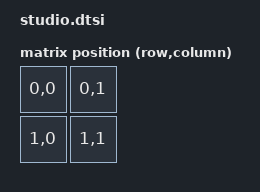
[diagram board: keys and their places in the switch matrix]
/*
 * Copyright (c) 2026 The zmk-editable-macros contributors
 *
 * SPDX-License-Identifier: MIT
 */

/*
 * ZMK Studio refuses to build for a keyboard without a physical layout, so the tests
 * that enable Studio give the 2x2 mock keyboard one.
 */

#include <physical_layouts.dtsi>
#include <dt-bindings/zmk/matrix_transform.h>

/ {
    chosen {
        zmk,physical-layout = &test_layout;
    };

    test_transform: test_transform {
        compatible = "zmk,matrix-transform";
        rows = <2>;
        columns = <2>;
        map = <RC(0,0) RC(0,1) RC(1,0) RC(1,1)>;
    };

    test_layout: test_layout {
        compatible = "zmk,physical-layout";
        display-name = "Test";
        transform = <&test_transform>;
        kscan = <&kscan>;

        keys  //                     w   h    x    y  rot  rx  ry
            = <&key_physical_attrs 100 100    0    0    0   0   0>
            , <&key_physical_attrs 100 100  100    0    0   0   0>
            , <&key_physical_attrs 100 100    0  100    0   0   0>
            , <&key_physical_attrs 100 100  100  100    0   0   0>
            ;
    };
};
